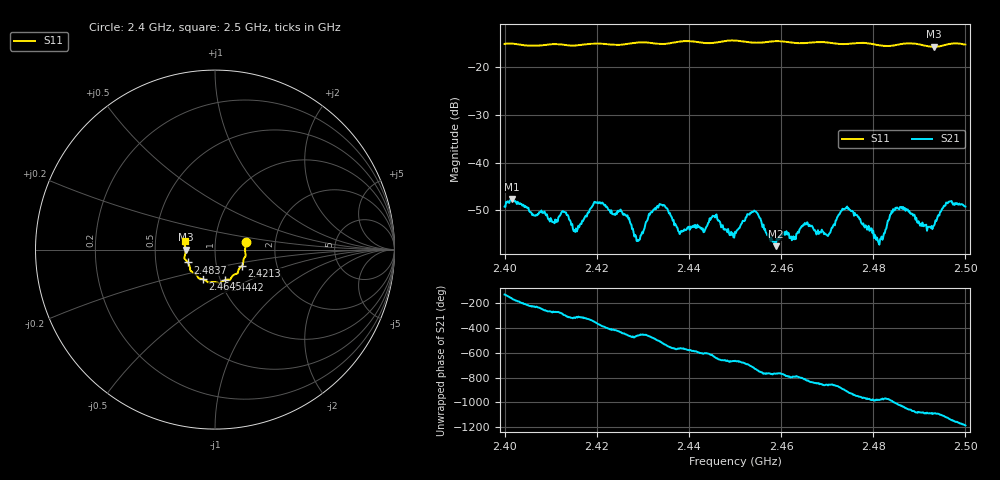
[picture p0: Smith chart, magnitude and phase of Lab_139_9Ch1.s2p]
# Hz S RI R 50
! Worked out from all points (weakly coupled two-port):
!   601 points, 2.4 GHz to 2.5 GHz, reference 50 ohm
!   highest |S21| = -47.63 dB at 2.4015 GHz (marker M1); lowest = -57.6 dB at 2.4588 GHz (marker M2)
!   lowest |S11| = -15.7 dB at 2.4932 GHz (marker M3), VSWR 1.39, Z = 35.9 - j0.0573 ohm
!   |S11| at or under -10 dB: start of sweep to end of sweep
!   S12 and S22 are empty: the file has one direction only
!   S11 on the Smith chart (normalised r, x): 2.4 GHz: 1.41, +0.12; 2.4213 GHz: 1.33, -0.25; 2.4442 GHz: 1.05, -0.37; 2.4645 GHz: 0.83, -0.29; 2.4837 GHz: 0.73, -0.11; 2.5 GHz: 0.71, +0.07
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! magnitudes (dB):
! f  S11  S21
! 2.4 GHz  -15.1  -49.3
! 2.4015 GHz  -15.0  -47.6
! 2.4167 GHz  -15.3  -52.9
! 2.4213 GHz  -15.1  -48.5
! 2.4265 GHz  -15.1  -51.3
! 2.429 GHz  -14.8  -56.5
! 2.4333 GHz  -15.1  -49.5
! 2.4382 GHz  -14.6  -54.6
! 2.4442 GHz  -15.0  -52.7
! 2.45 GHz  -14.4  -54.5
! 2.4542 GHz  -14.9  -50.1
! 2.4588 GHz  -14.5  -57.6
! 2.4645 GHz  -15.0  -53.3
! 2.4667 GHz  -14.8  -53.2
! 2.4702 GHz  -14.8  -55.4
! 2.4743 GHz  -15.1  -49.2
! 2.4812 GHz  -15.4  -56.9
! 2.4833 GHz  -15.6  -52.1
! 2.4837 GHz  -15.5  -50.9
! 2.4932 GHz  -15.7  -53.3
! 2.4963 GHz  -15.2  -48.2
! 2.5 GHz  -15.3  -49.2
